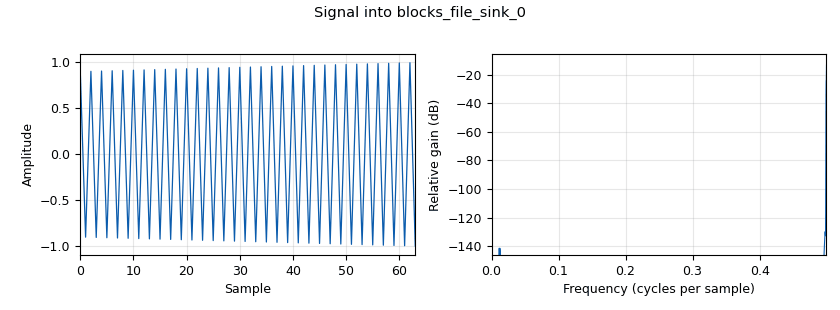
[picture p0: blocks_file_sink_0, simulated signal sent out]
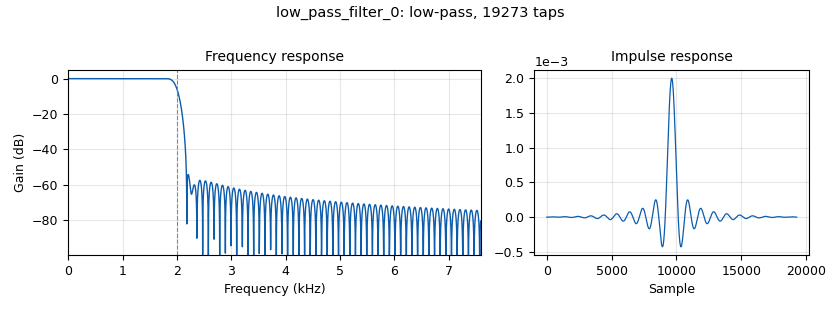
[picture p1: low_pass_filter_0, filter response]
options:
  parameters:
    generate_options: qt_gui
    id: top_block
    output_language: python
  states: {}

blocks:
- name: samp_rate
  id: variable
  parameters:
    value: 2e6
  states: {}
- name: analog_const_source_x_0
  id: analog_const_source_x
  parameters:
    const: '0.5'
    type: float
  states: {}
- name: analog_const_source_x_0_0
  id: analog_const_source_x
  parameters:
    const: '1'
    type: float
  states: {}
- name: analog_sig_source_x_0
  id: analog_sig_source_x
  parameters:
    amp: '1'
    freq: '1000'
    offset: '0'
    phase: '0'
    samp_rate: samp_rate
    type: float
    waveform: analog.GR_SIN_WAVE
  states: {}
- name: analog_sig_source_x_1
  id: analog_sig_source_x
  parameters:
    amp: '1'
    freq: 1e6
    offset: '0'
    phase: '0'
    samp_rate: samp_rate
    type: float
    waveform: analog.GR_COS_WAVE
  states: {}
- name: audio_sink_0
  id: audio_sink
  parameters:
    samp_rate: '48000'
  states: {}
- name: blocks_abs_xx_0
  id: blocks_abs_xx
  parameters:
    type: float
  states: {}
- name: blocks_add_xx_0
  id: blocks_add_xx
  parameters:
    type: float
  states: {}
- name: blocks_file_sink_0
  id: blocks_file_sink
  parameters:
    file: C:\Users\Usuario\Downloads\TPAMa.dat
    type: float
  states: {}
- name: blocks_file_source_0_0
  id: blocks_file_source
  parameters:
    file: C:\Users\Usuario\Downloads\am.dat
    repeat: 'True'
    type: float
  states: {}
- name: blocks_multiply_xx_0
  id: blocks_multiply_xx
  parameters:
    type: float
  states: {}
- name: blocks_multiply_xx_1
  id: blocks_multiply_xx
  parameters:
    type: float
  states: {}
- name: low_pass_filter_0
  id: low_pass_filter
  parameters:
    cutoff_freq: 2e3
    decim: '1'
    gain: '1'
    samp_rate: samp_rate
    type: fir_filter_fff
    width: '250'
    win: window.WIN_HAMMING
  states: {}
- name: rational_resampler_xxx_1
  id: rational_resampler_xxx
  parameters:
    decim: '541'
    interp: '13'
    type: fff
  states: {}

connections:
- [analog_const_source_x_0, '0', blocks_multiply_xx_0, '1']
- [analog_const_source_x_0_0, '0', blocks_add_xx_0, '1']
- [analog_sig_source_x_0, '0', blocks_multiply_xx_0, '0']
- [analog_sig_source_x_1, '0', blocks_multiply_xx_1, '1']
- [blocks_abs_xx_0, '0', low_pass_filter_0, '0']
- [blocks_add_xx_0, '0', blocks_multiply_xx_1, '0']
- [blocks_file_source_0_0, '0', blocks_abs_xx_0, '0']
- [blocks_multiply_xx_0, '0', blocks_add_xx_0, '0']
- [blocks_multiply_xx_1, '0', blocks_file_sink_0, '0']
- [low_pass_filter_0, '0', rational_resampler_xxx_1, '0']
- [rational_resampler_xxx_1, '0', audio_sink_0, '0']

metadata:
  file_format: 1
  grc_version: 3.10.5.1
